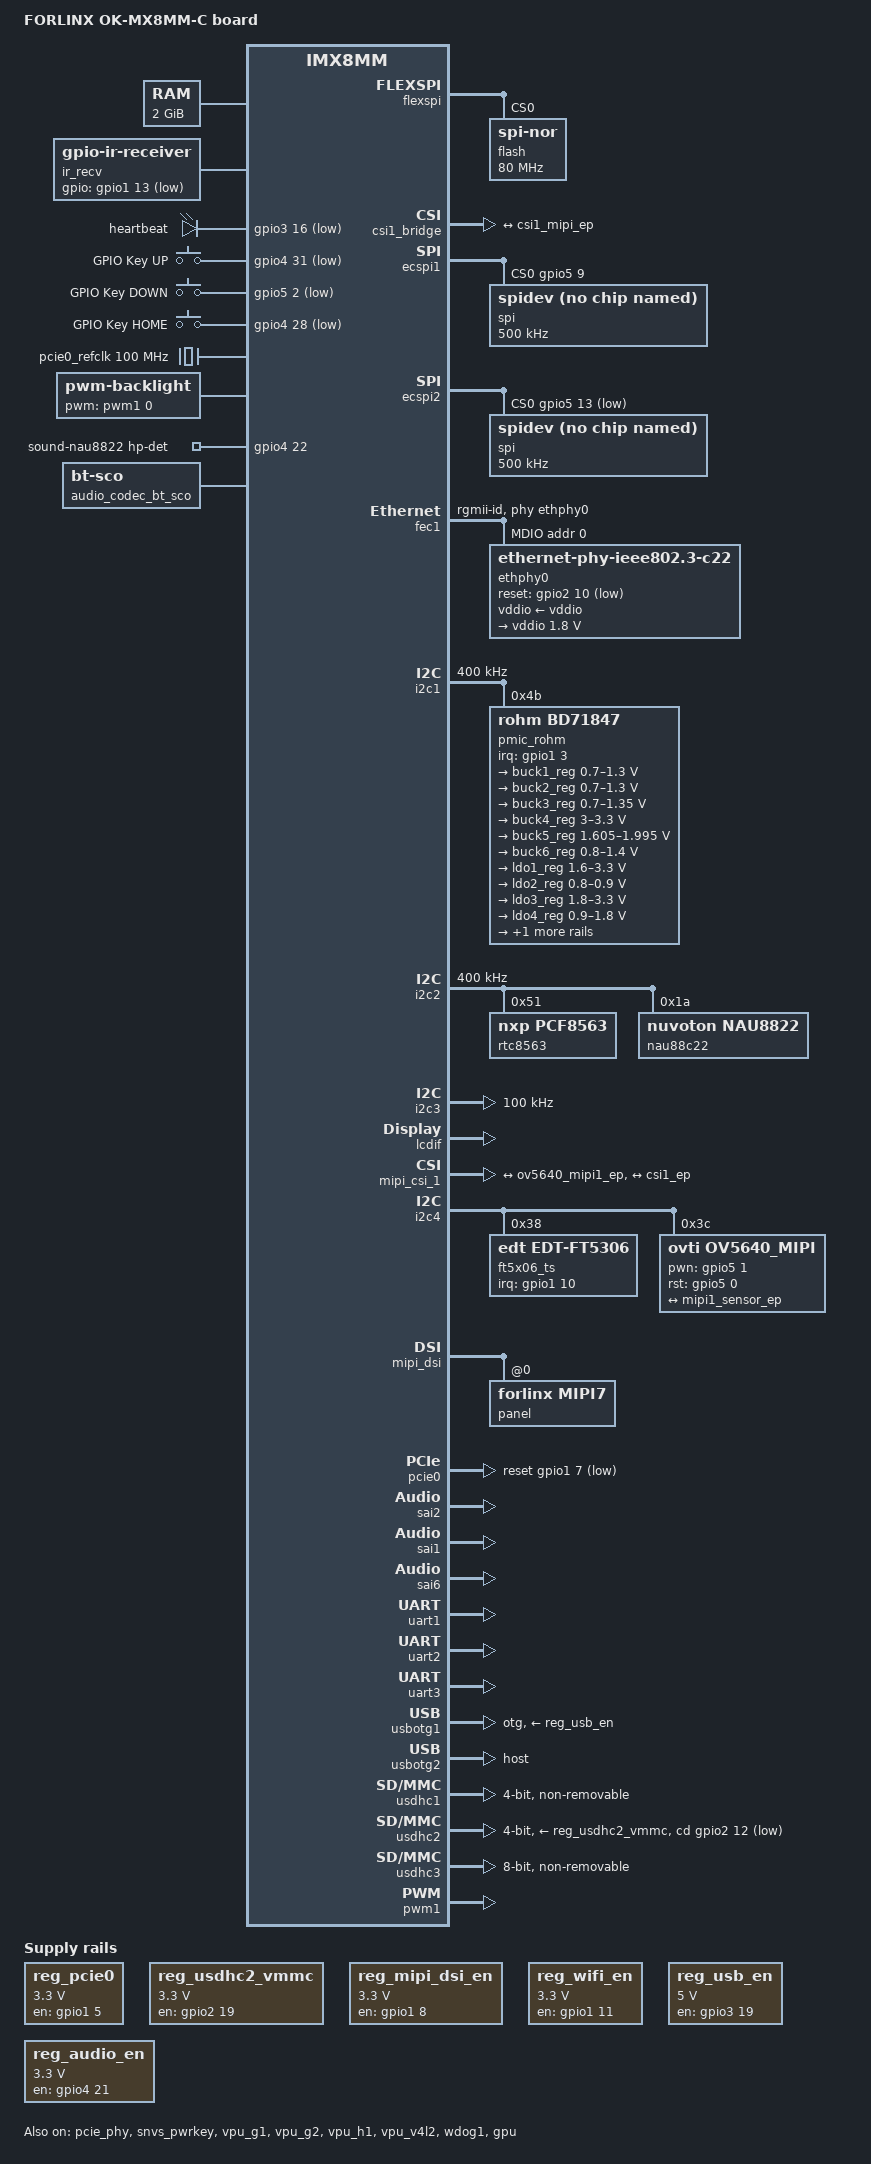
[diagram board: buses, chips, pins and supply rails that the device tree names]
// SPDX-License-Identifier: (GPL-2.0+ OR MIT)
/*
 * Copyright 2020 NXP
 */

/dts-v1/;

#include <dt-bindings/phy/phy-imx8-pcie.h>
#include <dt-bindings/usb/pd.h>
#include "imx8mm.dtsi"

/ {

	model = "FORLINX OK-MX8MM-C board";
	compatible = "fsl,imx8mm-evk", "fsl,imx8mm";

	reserved-memory {
		#address-cells = <2>;
		#size-cells = <2>;
		ranges;

		m4_reserved: m4@80000000 {
			no-map;
			reg = <0 0x80000000 0 0x1000000>;
		};

		vdev0vring0: vdev0vring0@b8000000 {
			reg = <0 0xb8000000 0 0x8000>;
			no-map;
		};

		vdev0vring1: vdev0vring1@b8008000 {
			reg = <0 0xb8008000 0 0x8000>;
			no-map;
		};

		rsc_table: rsc-table@b80ff000 {
			reg = <0 0xb80ff000 0 0x1000>;
			no-map;
		};

		vdevbuffer: vdevbuffer@b8400000 {
			compatible = "shared-dma-pool";
			reg = <0 0xb8400000 0 0x100000>;
			no-map;
		};
	};


	imx8mm-cm4 {
		compatible = "fsl,imx8mm-cm4";
		rsc-da = <0xb8000000>;
		clocks = <&clk IMX8MM_CLK_M4_DIV>;
		mbox-names = "tx", "rx", "rxdb";
		mboxes = <&mu 0 1
				&mu 1 1
				&mu 3 1>;
		memory-region = <&vdevbuffer>, <&vdev0vring0>, <&vdev0vring1>, <&rsc_table>;
		syscon = <&src>;
		fsl,startup-delay-ms = <500>;
	};

	chosen {
		stdout-path = &uart2;
	};

	aliases {
		spi0 = &flexspi;
		spi1 = &ecspi1;
		spi2 = &ecspi2;
	};

	memory@40000000 {
		device_type = "memory";
		reg = <0x0 0x40000000 0 0x80000000>;
	};

	ir_recv: ir-receiver {
		compatible = "gpio-ir-receiver";
		gpios = <&gpio1 13 GPIO_ACTIVE_LOW>;
		pinctrl-names = "default";
		pinctrl-0 = <&pinctrl_ir_recv>;
		linux,autosuspend-period = <125>;
	};

	leds {
		compatible = "gpio-leds";
		pinctrl-names = "default";
		pinctrl-0 = <&pinctrl_gpio_led>;

		status {
			label = "heartbeat";
			gpios = <&gpio3 16 GPIO_ACTIVE_LOW>;
			linux,default-trigger = "heartbeat";
		};
	};

	gpio-keys {
		compatible = "gpio-keys";
		autorepeat;
		pinctrl-names = "default";
		pinctrl-0 = <&pinctrl_gpio_keys>;

		up {
			label = "GPIO Key UP";
			linux,code = <115>;
			gpios = <&gpio4 31 GPIO_ACTIVE_LOW>;
		};

		down {
			label = "GPIO Key DOWN";
			linux,code = <114>;
			gpios = <&gpio5 2 GPIO_ACTIVE_LOW>;
		};

		home {
			label = "GPIO Key HOME";
			linux,code = <102>;
			gpios = <&gpio4 28 GPIO_ACTIVE_LOW>;
		};
	};

	pcie0_refclk: pcie0-refclk {
		compatible = "fixed-clock";
		#clock-cells = <0>;
		clock-frequency = <100000000>;
	};

	reg_audio_board: regulator-audio-board {
		compatible = "regulator-fixed";
		regulator-name = "EXT_PWREN";
		regulator-min-microvolt = <3300000>;
		regulator-max-microvolt = <3300000>;
		enable-active-high;
		startup-delay-us = <300000>;
		gpio = <&pca6416 1 GPIO_ACTIVE_HIGH>;
		regulator-always-on;
		status = "disabled";
	};

	reg_pcie0: regulator-pcie {
		status = "okay";
		compatible = "regulator-fixed";
		pinctrl-names = "default";
		pinctrl-0 = <&pinctrl_pcie0_reg>;
		regulator-name = "MPCIE_3V3";
		regulator-min-microvolt = <3300000>;
		regulator-max-microvolt = <3300000>;
		gpio = <&gpio1 5 GPIO_ACTIVE_HIGH>;
		enable-active-high;
	};

	reg_usdhc2_vmmc: regulator-usdhc2 {
		compatible = "regulator-fixed";
		pinctrl-names = "default";
		pinctrl-0 = <&pinctrl_reg_usdhc2_vmmc>;
		regulator-name = "VSD_3V3";
		regulator-min-microvolt = <3300000>;
		regulator-max-microvolt = <3300000>;
		gpio = <&gpio2 19 GPIO_ACTIVE_HIGH>;
		off-on-delay-us = <20000>;
		enable-active-high;
	};

	reg_mipi_dsi_en: regulator-mipi-dsi-en {
		compatible = "regulator-fixed";
		pinctrl-names = "default";
		pinctrl-0 = <&pinctrl_mipi_dsi_en>;
		regulator-name = "MIPI_DSI_EN_3V3";
		regulator-min-microvolt = <3300000>;
		regulator-max-microvolt = <3300000>;
		gpio = <&gpio1 8 GPIO_ACTIVE_HIGH>;
		enable-active-high;
		regulator-always-on;
	};

	reg_wifi_en: regulator-wifi-en {
		compatible = "regulator-fixed";
		pinctrl-names = "default";
		pinctrl-0 = <&pinctrl_wifi_en>;
		regulator-name = "WIFI_EN_3V3";
		regulator-min-microvolt = <3300000>;
		regulator-max-microvolt = <3300000>;
		gpio = <&gpio1 11 GPIO_ACTIVE_HIGH>;
		enable-active-high;
	};

	reg_usb_en: regulator-usb-en {
		compatible = "regulator-fixed";
		pinctrl-names = "default";
		pinctrl-0 = <&pinctrl_usb_en>;
		regulator-name = "USB_EN";
		regulator-min-microvolt = <5000000>;
		regulator-max-microvolt = <5000000>;
		gpio = <&gpio3 19 GPIO_ACTIVE_HIGH>;
		enable-active-high;
	};

	reg_audio_en:regulator-audio-en {
		compatible = "regulator-fixed";
		pinctrl-names = "default";
		pinctrl-0 = <&pinctrl_wm8960_power_en>;
		regulator-name = "AUDIO_EN";
		regulator-min-microvolt = <3300000>;
		regulator-max-microvolt = <3300000>;
		gpio = <&gpio4 21 GPIO_ACTIVE_HIGH>;
		enable-active-high;
		regulator-always-on;
	};

	backlight: backlight {
		compatible = "pwm-backlight";
		pwms = <&pwm1 0 50000 0>;
		brightness-levels = <0 255>;
		num-interpolated-steps = <255>;
		default-brightness-level = <250>;
	};

	ir-receiver {
		compatible = "gpio-ir-receiver";
		gpios = <&gpio1 13 GPIO_ACTIVE_LOW>;
		pinctrl-names = "default";
		pinctrl-0 = <&pinctrl_ir>;
		linux,autosuspend-period = <125>;
	};


	sound: sound {
		compatible = "fsl,imx7d-evk-wm8960",
				"fsl,imx-audio-wm8960";
		model = "wm8960-audio";
		audio-cpu = <&sai2>;
		audio-codec = <&wm8960>;
		codec-master;
		hp-det-gpio = <&gpio4 22 0>;
		audio-routing =
			"Headphone Jack", "HP_L",
			"Headphone Jack", "HP_R",
			"Ext Spk", "SPK_LP",
			"Ext Spk", "SPK_LN",
			"Ext Spk", "SPK_RP",
			"Ext Spk", "SPK_RN",
			"LINPUT2", "Mic Jack",
			"RINPUT2", "Mic Jack",
			"Mic Jack", "MICB",
			"Playback", "CPU-Playback",
			"CPU-Capture", "Capture";
		status="disabled";
	};

	sound-nau8822 {
		compatible = "fsl,imx-audio-nau88c22";
		model = "nau88c22-audio";
		audio-cpu = <&sai2>;
		audio-codec = <&nau88c22>;
		mclk-id = <0x1>;
		hp-det-gpio = <&gpio4 22 0>;
		audio-routing =
			"Headphone Jack", "LHP",
			"Headphone Jack", "RHP",
			"Ext Spk", "LSPK",
			"Ext Spk", "RSPK",
			"LMICN", "Mic Jack",
			"LMICP", "Mic Jack",
			"RMICN", "Mic Jack",
			"RMICP", "Mic Jack",
			"CPU-Playback", "Playback",
			"CPU-Capture", "Capture";
		status = "okay";
	};

	audio_codec_bt_sco: audio-codec-bt-sco {
		compatible = "linux,bt-sco";
		#sound-dai-cells = <1>;
	};

	wm8524: audio-codec {
		#sound-dai-cells = <0>;
		compatible = "wlf,wm8524";
		pinctrl-names = "default";
		pinctrl-0 = <&pinctrl_gpio_wlf>;
		wlf,mute-gpios = <&gpio5 21 GPIO_ACTIVE_LOW>;
		status = "disabled";
	};

	sound-bt-sco {
		compatible = "simple-audio-card";
		simple-audio-card,name = "bt-sco-audio";
		simple-audio-card,format = "dsp_a";
		simple-audio-card,bitclock-inversion;
		simple-audio-card,frame-master = <&btcpu>;
		simple-audio-card,bitclock-master = <&btcpu>;
		status = "disabled";

		btcpu: simple-audio-card,cpu {
			sound-dai = <&sai2>;
			dai-tdm-slot-num = <2>;
			dai-tdm-slot-width = <16>;
		};

		simple-audio-card,codec {
			sound-dai = <&audio_codec_bt_sco 1>;
		};
	};

	sound-wm8524 {
		compatible = "simple-audio-card";
		simple-audio-card,name = "wm8524-audio";
		simple-audio-card,format = "i2s";
		simple-audio-card,frame-master = <&cpudai>;
		simple-audio-card,bitclock-master = <&cpudai>;
		simple-audio-card,widgets =
			"Line", "Left Line Out Jack",
			"Line", "Right Line Out Jack";
		simple-audio-card,routing =
			"Left Line Out Jack", "LINEVOUTL",
			"Right Line Out Jack", "LINEVOUTR";

		cpudai: simple-audio-card,cpu {
			sound-dai = <&sai3>;
			dai-tdm-slot-num = <2>;
			dai-tdm-slot-width = <32>;
		};

		simple-audio-card,codec {
			sound-dai = <&wm8524>;
			clocks = <&clk IMX8MM_CLK_SAI3_ROOT>;
		};
	};

	sound-ak4458 {
		compatible = "fsl,imx-audio-card";
		model = "ak4458-audio";
		status = "disabled";
		pri-dai-link {
			link-name = "akcodec";
			format = "i2s";
			fsl,mclk-equal-bclk;
			cpu {
				sound-dai = <&sai1>;
			};
			codec {
				sound-dai = <&ak4458_1>, <&ak4458_2>;
			};
		};
	};

	sound-ak5558 {
		compatible = "fsl,imx-audio-card";
		model = "ak5558-audio";
		status = "disabled";
		pri-dai-link {
			link-name = "akcodec";
			format = "i2s";
			fsl,mclk-equal-bclk;
			cpu {
				sound-dai = <&sai5>;
			};
			codec {
				sound-dai = <&ak5558>;
			};
		};
	};

	sound-ak4497 {
		compatible = "fsl,imx-audio-card";
		model = "ak4497-audio";
		status = "disabled";
		pri-dai-link {
			link-name = "akcodec";
			format = "i2s";
			fsl,mclk-equal-bclk;
			cpu {
				sound-dai = <&sai1>;
			};
			codec {
				sound-dai = <&ak4497>;
			};
		};
	};

	sound-spdif {
		compatible = "fsl,imx-audio-spdif";
		model = "imx-spdif";
		spdif-controller = <&spdif1>;
		spdif-out;
		spdif-in;
		status = "disabled";
	};

	sound-micfil {
		compatible = "fsl,imx-audio-card";
		model = "micfil-audio";
		status = "disabled";
		pri-dai-link {
			link-name = "micfil hifi";
			format = "i2s";
			cpu {
				sound-dai = <&micfil>;
			};
		};
	};
};

&clk {
	init-on-array = <IMX8MM_CLK_UART4_ROOT
	IMX8MM_CLK_AHB IMX8MM_CLK_DRAM_CORE
	IMX8MM_CLK_NOC IMX8MM_CLK_NOC_APB
	IMX8MM_CLK_USB_BUS
	IMX8MM_CLK_MAIN_AXI IMX8MM_CLK_AUDIO_AHB
	IMX8MM_CLK_DRAM_APB IMX8MM_CLK_A53_DIV
	IMX8MM_ARM_PLL_OUT IMX8MM_CLK_DISP_AXI
	IMX8MM_CLK_DISP_APB
	>;
};

&A53_0 {
	cpu-supply = <&buck2_reg>;
};

&A53_1 {
	cpu-supply = <&buck2_reg>;
};

&A53_2 {
	cpu-supply = <&buck2_reg>;
};

&A53_3 {
	cpu-supply = <&buck2_reg>;
};


&{/busfreq} {
        /* Disable busfreq, to avoid 1st Linux busfreq crash other inmates */
        status = "disabled";
};

&flexspi {
	pinctrl-names = "default";
	pinctrl-0 = <&pinctrl_flexspi>;
	status = "okay";

	flash@0 {
		reg = <0>;
		#address-cells = <1>;
		#size-cells = <1>;
		compatible = "jedec,spi-nor";
		spi-max-frequency = <80000000>;
		spi-tx-bus-width = <1>;
		spi-rx-bus-width = <4>;
	};
};

&csi1_bridge {
	fsl,mipi-mode;
	status = "okay";
	port {
		csi1_ep: endpoint {
			remote-endpoint = <&csi1_mipi_ep>;
		};
	};
};

&ecspi1 {
	#address-cells = <1>;
	#size-cells = <0>;
	fsl,spi-num-chipselects = <1>;
	status = "okay";
	pinctrl-names = "default";
	pinctrl-0 = <&pinctrl_spi1>;
	cs-gpios = <&gpio5 9 0>;

	spi@0 {
		reg = <0>;
		compatible = "rohm,dh2228fv";
		spi-max-frequency = <500000>;
	};
};

&ecspi2 {
	#address-cells = <1>;
	#size-cells = <0>;
	fsl,spi-num-chipselects = <1>;
	pinctrl-names = "default";
	pinctrl-0 = <&pinctrl_spi2>;
	cs-gpios = <&gpio5 13 GPIO_ACTIVE_LOW>;
	status = "okay";

	spi@0 {
		reg = <0>;
		compatible = "rohm,dh2228fv";
		spi-max-frequency = <500000>;
	};
};

&fec1 {
	pinctrl-names = "default";
	pinctrl-0 = <&pinctrl_fec1>;
	phy-mode = "rgmii-id";
	phy-handle = <&ethphy0>;
	fsl,magic-packet;
	status = "okay";

	mdio {
		#address-cells = <1>;
		#size-cells = <0>;

		ethphy0: ethernet-phy@0 {
			compatible = "ethernet-phy-ieee802.3-c22";
			reg = <0>;
			reset-gpios = <&gpio2 10 GPIO_ACTIVE_LOW>;
			reset-assert-us = <10000>;
			reset-deassert-us = <80000>;
			yt8521-led1 = <0x1e00>;
			yt8521-led2 = <0x1800>;
			realtek,aldps-enable;
			realtek,clkout-disable;
			qca,disable-smarteee;
			vddio-supply = <&vddio>;

			vddio: vddio-regulator {
				regulator-min-microvolt = <1800000>;
				regulator-max-microvolt = <1800000>;
			};
		};
	};
};

&i2c1 {
	clock-frequency = <400000>;
	pinctrl-names = "default";
	pinctrl-0 = <&pinctrl_i2c1>;
	status = "okay";


	pmic_rohm: pmic@4b {
		compatible = "rohm,bd71847";
		reg = <0x4b>;
		pinctrl-0 = <&pinctrl_pmic>;
		pinctrl-names = "default";
		interrupt-parent = <&gpio1>;
		interrupts = <3 GPIO_ACTIVE_LOW>;
		rohm,reset-snvs-powered;

		#clock-cells = <0>;
		clocks = <&osc_32k 0>;
		clock-output-names = "clk-32k-out";

		regulators {
			buck1_reg: BUCK1 {
				regulator-name = "BUCK1";
				regulator-min-microvolt = <700000>;
				regulator-max-microvolt = <1300000>;
				regulator-boot-on;
				regulator-always-on;
				regulator-ramp-delay = <1250>;
			};

			buck2_reg: BUCK2 {
				regulator-name = "BUCK2";
				regulator-min-microvolt = <700000>;
				regulator-max-microvolt = <1300000>;
				regulator-boot-on;
				regulator-always-on;
				regulator-ramp-delay = <1250>;
				rohm,dvs-run-voltage = <1000000>;
				rohm,dvs-idle-voltage = <900000>;
			};

			buck3_reg: BUCK3 {
				// BUCK5 in datasheet
				regulator-name = "BUCK3";
				regulator-min-microvolt = <700000>;
				regulator-max-microvolt = <1350000>;
				regulator-boot-on;
				regulator-always-on;
			};

			buck4_reg: BUCK4 {
				// BUCK6 in datasheet
				regulator-name = "BUCK4";
				regulator-min-microvolt = <3000000>;
				regulator-max-microvolt = <3300000>;
				regulator-boot-on;
				regulator-always-on;
			};

			buck5_reg: BUCK5 {
				// BUCK7 in datasheet
				regulator-name = "BUCK5";
				regulator-min-microvolt = <1605000>;
				regulator-max-microvolt = <1995000>;
				regulator-boot-on;
				regulator-always-on;
			};

			buck6_reg: BUCK6 {
				// BUCK8 in datasheet
				regulator-name = "BUCK6";
				regulator-min-microvolt = <800000>;
				regulator-max-microvolt = <1400000>;
				regulator-boot-on;
				regulator-always-on;
			};

			ldo1_reg: LDO1 {
				regulator-name = "LDO1";
				regulator-min-microvolt = <1600000>;
				regulator-max-microvolt = <3300000>;
				regulator-boot-on;
				regulator-always-on;
			};

			ldo2_reg: LDO2 {
				regulator-name = "LDO2";
				regulator-min-microvolt = <800000>;
				regulator-max-microvolt = <900000>;
				regulator-boot-on;
				regulator-always-on;
			};

			ldo3_reg: LDO3 {
				regulator-name = "LDO3";
				regulator-min-microvolt = <1800000>;
				regulator-max-microvolt = <3300000>;
				regulator-boot-on;
				regulator-always-on;
			};

			ldo4_reg: LDO4 {
				regulator-name = "LDO4";
				regulator-min-microvolt = <900000>;
				regulator-max-microvolt = <1800000>;
				regulator-boot-on;
				regulator-always-on;
			};

			ldo6_reg: LDO6 {
				regulator-name = "LDO6";
				regulator-min-microvolt = <900000>;
				regulator-max-microvolt = <1800000>;
				regulator-boot-on;
				regulator-always-on;
			};
		};
	};

};

&i2c2 {
	clock-frequency = <400000>;
	pinctrl-names = "default";
	pinctrl-0 = <&pinctrl_i2c2>;
	status = "okay";

    rtc8563@51 {
        compatible = "nxp,pcf8563";
        reg = <0x51>;
        status = "okay";
    };

    wm8960: wm8960@1a {
        compatible = "wlf,wm8960";
        reg = <0x1a>;
        wlf,shared-lrclk;
        clocks = <&clk IMX8MM_CLK_SAI2_ROOT>;
        clock-names = "mclk";
        status= "disabled";
    };

	nau88c22: nau8822@1a {
		compatible = "nuvoton,nau8822";
		reg = <0x1a>;
		clocks = <&clk IMX8MM_CLK_SAI2_ROOT>;
		clock-names = "mclk";
		wlf,shared-lrclk;
		#sound-dai-cells = <0>;
		status = "okay";
	};

	adv_bridge: adv7535@3d {
		compatible = "adi,adv7535";
		reg = <0x3d>;
		adi,addr-cec = <0x3b>;
		adi,dsi-lanes = <4>;
		pinctrl-names = "default";
		pinctrl-0 = <&pinctrl_i2c2_synaptics_dsx_io>;
		interrupt-parent = <&gpio1>;
		interrupts = <9 IRQ_TYPE_LEVEL_LOW>;

		status = "disabled";
	};

};

&i2c3 {
	clock-frequency = <100000>;
	pinctrl-names = "default";
	pinctrl-0 = <&pinctrl_i2c3>;
	status = "okay";

	pca6416: gpio@20 {
		compatible = "ti,tca6416";
		reg = <0x20>;
		gpio-controller;
		#gpio-cells = <2>;
		vcc-supply = <&buck4_reg>;
		status = "disabled";
	};

	ak4458_1: ak4458@10 {
		#sound-dai-cells = <0>;
		sound-name-prefix = "0";
		compatible = "asahi-kasei,ak4458";
		reg = <0x10>;
		AVDD-supply = <&reg_audio_board>;
		DVDD-supply = <&reg_audio_board>;
		status = "disabled";
	};

	ak4458_2: ak4458@12 {
		#sound-dai-cells = <0>;
		sound-name-prefix = "1";
		compatible = "asahi-kasei,ak4458";
		reg = <0x12>;
		AVDD-supply = <&reg_audio_board>;
		DVDD-supply = <&reg_audio_board>;
		status = "disabled";
	};

	ak5558: ak5558@13 {
		#sound-dai-cells = <0>;
		compatible = "asahi-kasei,ak5558";
		reg = <0x13>;
		reset-gpios = <&pca6416 3 GPIO_ACTIVE_LOW>;
		AVDD-supply = <&reg_audio_board>;
		DVDD-supply = <&reg_audio_board>;
		status = "disabled";
	};

	ak4497: ak4497@11 {
		#sound-dai-cells = <0>;
		compatible = "asahi-kasei,ak4497";
		reg = <0x11>;
		reset-gpios = <&pca6416 5 GPIO_ACTIVE_LOW>;
		AVDD-supply = <&reg_audio_board>;
		DVDD-supply = <&reg_audio_board>;
		dsd-path = <1>;
		status = "disabled";
	};
};
&lcdif {
       status = "okay";
};

&mipi_csi_1 {
	#address-cells = <1>;
	#size-cells = <0>;
	status = "okay";
	port {
		mipi1_sensor_ep: endpoint@1 {
			remote-endpoint = <&ov5640_mipi1_ep>;
			data-lanes = <2>;
			csis-hs-settle = <13>;
			csis-clk-settle = <2>;
			csis-wclk;
		};

		csi1_mipi_ep: endpoint@2 {
			remote-endpoint = <&csi1_ep>;
		};
	};
};

&i2c4 {
    pinctrl-names = "default";
    pinctrl-0 = <&pinctrl_i2c4>;
    status = "okay";

    ft5x06_ts@38 {
        compatible = "edt,edt-ft5306";
        reg = <0x38>;
        pinctrl-names = "defaults";
        pinctrl-0 = <&pinctrl_ft5x06_int>;
        touchscreen-size-x = <1024>;
        touchscreen-size-y = <600>;
        interrupt-parent = <&gpio1>;
        interrupts = <10 2>;
        status = "okay";
    };

    gt928_ts@5d {
        compatible = "goodix,gt928";
        reg = <0x5d>;
        pinctrl-names = "default";
        pinctrl-0 = <&pinctrl_ft5x06_int>;
        interrupt-parent = <&gpio1>;
        interrupts = <10 2>;
        goodix,rst-gpio = <&gpio1 9 0>;
        goodix,irq-gpio = <&gpio1 10 0>;
        status = "disabled";
	};

    ov5640_mipi: ov5640_mipi@3c {
        compatible = "ovti,ov5640_mipi";
        reg = <0x3c>;
        status = "okay";
        pinctrl-names = "default";
        pinctrl-0 = <&pinctrl_csi_pwn>, <&pinctrl_csi_rst>;
		clocks = <&clk IMX8MM_CLK_CLKO1>;
        clock-names = "csi_mclk";
		assigned-clocks = <&clk IMX8MM_CLK_CLKO1>;
        assigned-clock-parents = <&clk IMX8MM_CLK_24M>;
        assigned-clock-rates = <0>, <24000000>;
        csi_id = <0>;
        pwn-gpios = <&gpio5 1 GPIO_ACTIVE_HIGH>;
        rst-gpios = <&gpio5 0 GPIO_ACTIVE_HIGH>;
        mclk = <24000000>;
        mclk_source = <0>;
        port {
            ov5640_mipi1_ep: endpoint {
                remote-endpoint = <&mipi1_sensor_ep>;
            };
        };
    };


};



&micfil {
	#sound-dai-cells = <0>;
	pinctrl-names = "default";
	pinctrl-0 = <&pinctrl_pdm>;
	assigned-clocks = <&clk IMX8MM_CLK_PDM>;
	assigned-clock-parents = <&clk IMX8MM_AUDIO_PLL1_OUT>;
	assigned-clock-rates = <196608000>;
	status = "disabled";
};

&mipi_dsi {
       status = "okay";

	panel@0 {
		status = "okay";
		compatible = "forlinx,mipi7";
		reg = <0>;
	};
};

&pcie_phy {
	fsl,refclk-pad-mode = <IMX8_PCIE_REFCLK_PAD_OUTPUT>;
	fsl,tx-deemph-gen1 = <0x2d>;
	fsl,tx-deemph-gen2 = <0xf>;
	status = "okay";
};

&pcie0 {
	pinctrl-names = "default";
	pinctrl-0 = <&pinctrl_pcie0>;
	reset-gpio = <&gpio1 7 GPIO_ACTIVE_LOW>;
	clocks = <&clk IMX8MM_CLK_PCIE1_ROOT>, <&clk IMX8MM_CLK_PCIE1_AUX>,
		 <&pcie0_refclk>;
	clock-names = "pcie", "pcie_aux", "pcie_bus";
	assigned-clocks = <&clk IMX8MM_CLK_PCIE1_AUX>,
			  <&clk IMX8MM_CLK_PCIE1_CTRL>;
	assigned-clock-rates = <10000000>, <250000000>;
	assigned-clock-parents = <&clk IMX8MM_SYS_PLL2_50M>,
				 <&clk IMX8MM_SYS_PLL2_250M>;
	vpcie-supply = <&reg_pcie0>;
	status = "okay";
};

&pcie0_ep{
	pinctrl-names = "default";
	pinctrl-0 = <&pinctrl_pcie0>;
	clocks = <&clk IMX8MM_CLK_PCIE1_ROOT>,
		 <&clk IMX8MM_CLK_PCIE1_AUX>,
		 <&clk IMX8MM_CLK_PCIE1_PHY>,
		 <&pcie0_refclk>;
	clock-names = "pcie", "pcie_aux", "pcie_phy", "pcie_bus";
	ext_osc = <1>;
	status = "disabled";
};

&sai2 {
	#sound-dai-cells = <0>;
	pinctrl-names = "default";
	pinctrl-0 = <&pinctrl_sai2>;
	assigned-clocks = <&clk IMX8MM_CLK_SAI2>;
	assigned-clock-parents = <&clk IMX8MM_AUDIO_PLL1_OUT>;
	assigned-clock-rates = <12288000>;
	fsl,sai-mclk-direction-output;
	status = "okay";
};

&sdma2 {
	fsl,ratio-1-1;
	status = "okay";

};
&sdma1 {
	status = "okay";

};
&sdma3 {
	status = "disabled";

};

&sai1 {
	pinctrl-names = "default", "dsd";
	pinctrl-0 = <&pinctrl_sai1>;
	pinctrl-1 = <&pinctrl_sai1_dsd>;
	assigned-clocks = <&clk IMX8MM_CLK_SAI1>;
	assigned-clock-parents = <&clk IMX8MM_AUDIO_PLL1_OUT>;
	assigned-clock-rates = <49152000>;
	clocks = <&clk IMX8MM_CLK_SAI1_IPG>, <&clk IMX8MM_CLK_DUMMY>,
		<&clk IMX8MM_CLK_SAI1_ROOT>, <&clk IMX8MM_CLK_DUMMY>,
		<&clk IMX8MM_CLK_DUMMY>, <&clk IMX8MM_AUDIO_PLL1_OUT>,
		<&clk IMX8MM_AUDIO_PLL2_OUT>;
	clock-names = "bus", "mclk0", "mclk1", "mclk2", "mclk3", "pll8k", "pll11k";
	fsl,sai-multi-lane;
	fsl,dataline = <0 0xff 0xff 2 0xff 0x11>;
	dmas = <&sdma2 0 25 0>, <&sdma2 1 25 0>;
	status = "okay";
};

&sai3 {
	pinctrl-names = "default";
	pinctrl-0 = <&pinctrl_sai3>;
	assigned-clocks = <&clk IMX8MM_CLK_SAI3>;
	assigned-clock-parents = <&clk IMX8MM_AUDIO_PLL1_OUT>;
	assigned-clock-rates = <24576000>;
	status = "disabled";
};

&sai5 {
	pinctrl-names = "default";
	pinctrl-0 = <&pinctrl_sai5>;
	assigned-clocks = <&clk IMX8MM_CLK_SAI5>;
	assigned-clock-parents = <&clk IMX8MM_AUDIO_PLL1_OUT>;
	assigned-clock-rates = <49152000>;
	clocks = <&clk IMX8MM_CLK_SAI5_IPG>, <&clk IMX8MM_CLK_DUMMY>,
		<&clk IMX8MM_CLK_SAI5_ROOT>, <&clk IMX8MM_CLK_DUMMY>,
		<&clk IMX8MM_CLK_DUMMY>, <&clk IMX8MM_AUDIO_PLL1_OUT>,
		<&clk IMX8MM_AUDIO_PLL2_OUT>;
	clock-names = "bus", "mclk0", "mclk1", "mclk2", "mclk3", "pll8k", "pll11k";
	fsl,sai-asynchronous;
	fsl,sai-multi-lane;
	dmas = <&sdma2 8 25 0>, <&sdma2 9 25 0>;
	status = "disabled";
};

&sai6 {
	fsl,sai-monitor-spdif;
	fsl,sai-asynchronous;
	status = "okay";
};

&snvs_pwrkey {
	status = "okay";
};

&spdif1 {
	pinctrl-names = "default";
	pinctrl-0 = <&pinctrl_spdif1>;
	assigned-clocks = <&clk IMX8MM_CLK_SPDIF1>;
	assigned-clock-parents = <&clk IMX8MM_AUDIO_PLL1_OUT>;
	assigned-clock-rates = <24576000>;
	clocks = <&clk IMX8MM_CLK_AUDIO_AHB>, <&clk IMX8MM_CLK_24M>,
		<&clk IMX8MM_CLK_SPDIF1>, <&clk IMX8MM_CLK_DUMMY>,
		<&clk IMX8MM_CLK_DUMMY>, <&clk IMX8MM_CLK_DUMMY>,
		<&clk IMX8MM_CLK_AUDIO_AHB>, <&clk IMX8MM_CLK_DUMMY>,
		<&clk IMX8MM_CLK_DUMMY>, <&clk IMX8MM_CLK_DUMMY>,
		<&clk IMX8MM_AUDIO_PLL1_OUT>, <&clk IMX8MM_AUDIO_PLL2_OUT>;
	clock-names = "core", "rxtx0", "rxtx1", "rxtx2", "rxtx3",
		"rxtx4", "rxtx5", "rxtx6", "rxtx7", "spba", "pll8k", "pll11k";
	status = "disabled";
};

&uart1 {
	pinctrl-names = "default";
	pinctrl-0 = <&pinctrl_uart1>;
	assigned-clocks = <&clk IMX8MM_CLK_UART1>;
	assigned-clock-parents = <&clk IMX8MM_SYS_PLL1_80M>;
//	fsl,uart-has-rtscts;
	status = "okay";
};

&uart2 { /* console */
	pinctrl-names = "default";
	pinctrl-0 = <&pinctrl_uart2>;
	status = "okay";
};

&uart3 {
	pinctrl-names = "default";
	pinctrl-0 = <&pinctrl_uart3>;
	assigned-clocks = <&clk IMX8MM_CLK_UART3>;
	assigned-clock-parents = <&clk IMX8MM_SYS_PLL1_80M>;
	fsl,uart-has-rtscts;
	status = "okay";
};

&usbotg1 {
	dr_mode = "otg";
	vbus-supply = <&reg_usb_en>;
	samsung,picophy-pre-emp-curr-control = <3>;
	samsung,picophy-dc-vol-level-adjust = <7>;
	status = "okay";

};

&usbotg2 {
	dr_mode = "host";
	over-current-active-low;
	samsung,picophy-pre-emp-curr-control = <3>;
	samsung,picophy-dc-vol-level-adjust = <7>;
	status = "okay";
};

&usdhc1 {
	pinctrl-names = "default", "state_100mhz", "state_200mhz";
	pinctrl-0 = <&pinctrl_usdhc1>;
	pinctrl-1 = <&pinctrl_usdhc1_100mhz>;
	pinctrl-2 = <&pinctrl_usdhc1_200mhz>;
	bus-width = <4>;
	keep-power-in-suspend;
	non-removable;
	wakeup-source;
};

&usdhc2 {
	assigned-clocks = <&clk IMX8MM_CLK_USDHC2>;
	assigned-clock-rates = <200000000>;
	pinctrl-names = "default", "state_100mhz", "state_200mhz";
	pinctrl-0 = <&pinctrl_usdhc2>, <&pinctrl_usdhc2_gpio>;
	pinctrl-1 = <&pinctrl_usdhc2_100mhz>, <&pinctrl_usdhc2_gpio>;
	pinctrl-2 = <&pinctrl_usdhc2_200mhz>, <&pinctrl_usdhc2_gpio>;
	cd-gpios = <&gpio2 12 GPIO_ACTIVE_LOW>;
	bus-width = <4>;
	vmmc-supply = <&reg_usdhc2_vmmc>;
	status = "okay";
};

&usdhc3 {
	assigned-clocks = <&clk IMX8MM_CLK_USDHC3_ROOT>;
	assigned-clock-rates = <400000000>;
	pinctrl-names = "default", "state_100mhz", "state_200mhz";
	pinctrl-0 = <&pinctrl_usdhc3>;
	pinctrl-1 = <&pinctrl_usdhc3_100mhz>;
	pinctrl-2 = <&pinctrl_usdhc3_200mhz>;
	bus-width = <8>;
	non-removable;
	status = "okay";
};


&vpu_g1 {
	status = "okay";
};

&vpu_g2 {
	status = "okay";
};

&vpu_h1 {
	status = "okay";
};

&vpu_v4l2 {
	status = "okay";
};

&wdog1 {
	pinctrl-names = "default";
	pinctrl-0 = <&pinctrl_wdog>;
	fsl,ext-reset-output;
	status = "okay";
};

&pwm1 {
	pinctrl-names = "default";
	pinctrl-0 = <&pinctrl_backlight>;
	status = "okay";
};

&gpu {
	status = "okay";
};

&iomuxc {

	pinctrl_flexspi: flexspigrp {
		fsl,pins = <
			MX8MM_IOMUXC_NAND_ALE_QSPI_A_SCLK               0x1c2
			MX8MM_IOMUXC_NAND_CE0_B_QSPI_A_SS0_B            0x82
			MX8MM_IOMUXC_NAND_DATA00_QSPI_A_DATA0           0x156
			MX8MM_IOMUXC_NAND_DATA01_QSPI_A_DATA1           0x156
			MX8MM_IOMUXC_NAND_DATA02_QSPI_A_DATA2           0x156
			MX8MM_IOMUXC_NAND_DATA03_QSPI_A_DATA3           0x156
		>;
	};

	pinctrl_usdhc3: usdhc3grp {
		fsl,pins = <
			MX8MM_IOMUXC_NAND_WE_B_USDHC3_CLK               0x190
			MX8MM_IOMUXC_NAND_WP_B_USDHC3_CMD               0x1d0
			MX8MM_IOMUXC_NAND_DATA04_USDHC3_DATA0           0x1d0
			MX8MM_IOMUXC_NAND_DATA05_USDHC3_DATA1           0x1d0
			MX8MM_IOMUXC_NAND_DATA06_USDHC3_DATA2           0x1d0
			MX8MM_IOMUXC_NAND_DATA06_USDHC3_DATA2           0x1d0
			MX8MM_IOMUXC_NAND_DATA07_USDHC3_DATA3           0x1d0
			MX8MM_IOMUXC_NAND_RE_B_USDHC3_DATA4             0x1d0
			MX8MM_IOMUXC_NAND_CE2_B_USDHC3_DATA5            0x1d0
			MX8MM_IOMUXC_NAND_CE3_B_USDHC3_DATA6            0x1d0
			MX8MM_IOMUXC_NAND_CLE_USDHC3_DATA7              0x1d0
			MX8MM_IOMUXC_NAND_CE1_B_USDHC3_STROBE           0x190
		>;
	};

	pinctrl_usdhc3_100mhz: usdhc3-100mhzgrp {
		fsl,pins = <
			MX8MM_IOMUXC_NAND_WE_B_USDHC3_CLK               0x194
			MX8MM_IOMUXC_NAND_WP_B_USDHC3_CMD               0x1d4
			MX8MM_IOMUXC_NAND_DATA04_USDHC3_DATA0           0x1d4
			MX8MM_IOMUXC_NAND_DATA05_USDHC3_DATA1           0x1d4
			MX8MM_IOMUXC_NAND_DATA06_USDHC3_DATA2           0x1d4
			MX8MM_IOMUXC_NAND_DATA07_USDHC3_DATA3           0x1d4
			MX8MM_IOMUXC_NAND_RE_B_USDHC3_DATA4             0x1d4
			MX8MM_IOMUXC_NAND_CE2_B_USDHC3_DATA5            0x1d4
			MX8MM_IOMUXC_NAND_CE3_B_USDHC3_DATA6            0x1d4
			MX8MM_IOMUXC_NAND_CLE_USDHC3_DATA7              0x1d4
			MX8MM_IOMUXC_NAND_CE1_B_USDHC3_STROBE           0x194
		>;
	};

	pinctrl_usdhc3_200mhz: usdhc3-200mhzgrp {
		fsl,pins = <
			MX8MM_IOMUXC_NAND_WE_B_USDHC3_CLK               0x196
			MX8MM_IOMUXC_NAND_WP_B_USDHC3_CMD               0x1d6
			MX8MM_IOMUXC_NAND_DATA04_USDHC3_DATA0           0x1d6
			MX8MM_IOMUXC_NAND_DATA05_USDHC3_DATA1           0x1d6
			MX8MM_IOMUXC_NAND_DATA06_USDHC3_DATA2           0x1d6
			MX8MM_IOMUXC_NAND_DATA07_USDHC3_DATA3           0x1d6
			MX8MM_IOMUXC_NAND_RE_B_USDHC3_DATA4             0x1d6
			MX8MM_IOMUXC_NAND_CE2_B_USDHC3_DATA5            0x1d6
			MX8MM_IOMUXC_NAND_CE3_B_USDHC3_DATA6            0x1d6
			MX8MM_IOMUXC_NAND_CLE_USDHC3_DATA7              0x1d6
			MX8MM_IOMUXC_NAND_CE1_B_USDHC3_STROBE           0x196
		>;
	};

	pinctrl_gpio_keys: gpio_keys {
		fsl,pins = <
			MX8MM_IOMUXC_SAI3_TXFS_GPIO4_IO31       0x59
			MX8MM_IOMUXC_SAI3_RXFS_GPIO4_IO28       0x59
			MX8MM_IOMUXC_SAI3_MCLK_GPIO5_IO2        0x59
		>;
	};

	pinctrl_ir_recv: ir-recv {
		fsl,pins = <
			MX8MM_IOMUXC_GPIO1_IO13_GPIO1_IO13		0x4f
		>;
	};

	pinctrl_csi_pwn: csi_pwn_grp {
		fsl,pins = <
			MX8MM_IOMUXC_SAI3_TXD_GPIO5_IO1            0x19
		>;
	};

	pinctrl_csi_rst: csi_rst_grp {
		fsl,pins = <
			MX8MM_IOMUXC_SAI3_TXC_GPIO5_IO0             0x19
			MX8MM_IOMUXC_GPIO1_IO14_CCMSRCGPCMIX_CLKO1  0x59
		>;
	};

	pinctrl_spi1: spi1 {
		fsl,pins = <
			MX8MM_IOMUXC_ECSPI1_SCLK_ECSPI1_SCLK        0x1d0
			MX8MM_IOMUXC_ECSPI1_MOSI_ECSPI1_MOSI        0x1d0
			MX8MM_IOMUXC_ECSPI1_MISO_ECSPI1_MISO        0x1d0
			MX8MM_IOMUXC_ECSPI1_SS0_GPIO5_IO9       0x1d0
			MX8MM_IOMUXC_SPDIF_TX_GPIO5_IO3         0x159
		>;
	};

	pinctrl_spi2: spi2 {
		fsl,pins = <
			MX8MM_IOMUXC_ECSPI2_SCLK_ECSPI2_SCLK        0x1d0
			MX8MM_IOMUXC_ECSPI2_MOSI_ECSPI2_MOSI        0x1d0
			MX8MM_IOMUXC_ECSPI2_MISO_ECSPI2_MISO        0x1d0
			MX8MM_IOMUXC_ECSPI2_SS0_GPIO5_IO13      0x1d0
			MX8MM_IOMUXC_SPDIF_EXT_CLK_GPIO5_IO5        0x159
		>;
	};

	pinctrl_ecspi2: ecspi2grp {
		fsl,pins = <
			MX8MM_IOMUXC_ECSPI2_SCLK_ECSPI2_SCLK		0x82
			MX8MM_IOMUXC_ECSPI2_MOSI_ECSPI2_MOSI		0x82
			MX8MM_IOMUXC_ECSPI2_MISO_ECSPI2_MISO		0x82
		>;
	};

	pinctrl_ecspi2_cs: ecspi2cs {
		fsl,pins = <
			MX8MM_IOMUXC_ECSPI2_SS0_GPIO5_IO13		0x40000
		>;
	};

	pinctrl_fec1: fec1grp {
		fsl,pins = <
			MX8MM_IOMUXC_ENET_MDC_ENET1_MDC			0x3
			MX8MM_IOMUXC_ENET_MDIO_ENET1_MDIO		0x3
			MX8MM_IOMUXC_ENET_TD3_ENET1_RGMII_TD3		0x1f
			MX8MM_IOMUXC_ENET_TD2_ENET1_RGMII_TD2		0x1f
			MX8MM_IOMUXC_ENET_TD1_ENET1_RGMII_TD1		0x1f
			MX8MM_IOMUXC_ENET_TD0_ENET1_RGMII_TD0		0x1f
			MX8MM_IOMUXC_ENET_RD3_ENET1_RGMII_RD3		0x91
			MX8MM_IOMUXC_ENET_RD2_ENET1_RGMII_RD2		0x91
			MX8MM_IOMUXC_ENET_RD1_ENET1_RGMII_RD1		0x91
			MX8MM_IOMUXC_ENET_RD0_ENET1_RGMII_RD0		0x91
			MX8MM_IOMUXC_ENET_TXC_ENET1_RGMII_TXC		0x1f
			MX8MM_IOMUXC_ENET_RXC_ENET1_RGMII_RXC		0x91
			MX8MM_IOMUXC_ENET_RX_CTL_ENET1_RGMII_RX_CTL	0x91
			MX8MM_IOMUXC_ENET_TX_CTL_ENET1_RGMII_TX_CTL	0x1f
			MX8MM_IOMUXC_SD1_RESET_B_GPIO2_IO10         0x19
		>;
	};

	pinctrl_gpio_led: gpioledgrp {
		fsl,pins = <
			MX8MM_IOMUXC_NAND_READY_B_GPIO3_IO16	0x19
		>;
	};

	pinctrl_ir: irgrp {
		fsl,pins = <
			MX8MM_IOMUXC_GPIO1_IO13_GPIO1_IO13              0x4f
		>;
	};

	pinctrl_gpio_wlf: gpiowlfgrp {
		fsl,pins = <
			MX8MM_IOMUXC_I2C4_SDA_GPIO5_IO21	0xd6
		>;
	};

	pinctrl_i2c1: i2c1grp {
		fsl,pins = <
			MX8MM_IOMUXC_I2C1_SCL_I2C1_SCL			0x400001c3
			MX8MM_IOMUXC_I2C1_SDA_I2C1_SDA			0x400001c3
		>;
	};

	pinctrl_i2c2: i2c2grp {
		fsl,pins = <
			MX8MM_IOMUXC_I2C2_SCL_I2C2_SCL			0x400001c3
			MX8MM_IOMUXC_I2C2_SDA_I2C2_SDA			0x400001c3
		>;
	};

	pinctrl_i2c2_synaptics_dsx_io: synaptics_dsx_iogrp {
		fsl,pins = <
			MX8MM_IOMUXC_GPIO1_IO09_GPIO1_IO9               0x19    /* Touch int */
		>;
	};

	pinctrl_i2c3: i2c3grp {
		fsl,pins = <
			MX8MM_IOMUXC_I2C3_SCL_I2C3_SCL			0x400001c3
			MX8MM_IOMUXC_I2C3_SDA_I2C3_SDA			0x400001c3
		>;
	};

	pinctrl_i2c4: i2c4grp {
		fsl,pins = <
			MX8MM_IOMUXC_I2C4_SCL_I2C4_SCL          0x400001c3
			MX8MM_IOMUXC_I2C4_SDA_I2C4_SDA          0x400001c3
		>;
	};

	pinctrl_mipi_dsi_en: mipi_dsi_en {
		fsl,pins = <
			MX8MM_IOMUXC_GPIO1_IO08_GPIO1_IO8		0x16
		>;
	};

	pinctrl_wifi_en: wifi_en {
		fsl,pins = <
			MX8MM_IOMUXC_GPIO1_IO11_GPIO1_IO11	0x159
		>;
	};

	pinctrl_usb_en: usb_en {
		fsl,pins = <
			MX8MM_IOMUXC_SAI5_RXFS_GPIO3_IO19	0x159
		>;
	};

	pinctrl_pcie0: pcie0grp {
		fsl,pins = <
			MX8MM_IOMUXC_GPIO1_IO07_GPIO1_IO7   0x41
		>;
	};

	pinctrl_pcie0_reg: pcie0reggrp {
		fsl,pins = <
			MX8MM_IOMUXC_GPIO1_IO05_GPIO1_IO5       0x41
		>;
	};

	pinctrl_pdm: pdmgrp {
		fsl,pins = <
			MX8MM_IOMUXC_SAI5_MCLK_SAI5_MCLK	0xd6
			MX8MM_IOMUXC_SAI5_RXC_PDM_CLK		0xd6
			MX8MM_IOMUXC_SAI5_RXFS_SAI5_RX_SYNC	0xd6
			MX8MM_IOMUXC_SAI5_RXD0_PDM_DATA0	0xd6
			MX8MM_IOMUXC_SAI5_RXD1_PDM_DATA1	0xd6
			MX8MM_IOMUXC_SAI5_RXD2_PDM_DATA2	0xd6
			MX8MM_IOMUXC_SAI5_RXD3_PDM_DATA3	0xd6
		>;
	};

	pinctrl_pmic: pmicirqgrp {
		fsl,pins = <
			MX8MM_IOMUXC_GPIO1_IO03_GPIO1_IO3		0x41
		>;
	};

	pinctrl_reg_usdhc2_vmmc: regusdhc2vmmcgrp {
		fsl,pins = <
			MX8MM_IOMUXC_SD2_RESET_B_GPIO2_IO19	0x41
		>;
	};

	pinctrl_sai1: sai1grp {
		fsl,pins = <
			MX8MM_IOMUXC_SAI1_MCLK_SAI1_MCLK	0xd6
			MX8MM_IOMUXC_SAI1_TXFS_SAI1_TX_SYNC	0xd6
			MX8MM_IOMUXC_SAI1_RXD7_SAI1_TX_SYNC	0xd6
			MX8MM_IOMUXC_SAI1_TXC_SAI1_TX_BCLK	0xd6
			MX8MM_IOMUXC_SAI1_TXD0_SAI1_TX_DATA0	0xd6
			MX8MM_IOMUXC_SAI1_TXD1_SAI1_TX_DATA1	0xd6
			MX8MM_IOMUXC_SAI1_TXD2_SAI1_TX_DATA2	0xd6
			MX8MM_IOMUXC_SAI1_TXD3_SAI1_TX_DATA3	0xd6
			MX8MM_IOMUXC_SAI1_TXD4_SAI1_TX_DATA4	0xd6
			MX8MM_IOMUXC_SAI1_TXD5_SAI1_TX_DATA5	0xd6
			MX8MM_IOMUXC_SAI1_TXD6_SAI1_TX_DATA6	0xd6
			MX8MM_IOMUXC_SAI1_TXD7_SAI1_TX_DATA7	0xd6
		>;
	};

	pinctrl_sai1_dsd: sai1grp_dsd {
		fsl,pins = <
			MX8MM_IOMUXC_SAI1_MCLK_SAI1_MCLK	0xd6
			MX8MM_IOMUXC_SAI1_TXFS_SAI1_TX_SYNC	0xd6
			MX8MM_IOMUXC_SAI1_RXD7_SAI1_TX_DATA4	0xd6
			MX8MM_IOMUXC_SAI1_TXC_SAI1_TX_BCLK	0xd6
			MX8MM_IOMUXC_SAI1_TXD0_SAI1_TX_DATA0	0xd6
			MX8MM_IOMUXC_SAI1_TXD1_SAI1_TX_DATA1	0xd6
			MX8MM_IOMUXC_SAI1_TXD2_SAI1_TX_DATA2	0xd6
			MX8MM_IOMUXC_SAI1_TXD3_SAI1_TX_DATA3	0xd6
			MX8MM_IOMUXC_SAI1_TXD4_SAI1_TX_DATA4	0xd6
			MX8MM_IOMUXC_SAI1_TXD5_SAI1_TX_DATA5	0xd6
			MX8MM_IOMUXC_SAI1_TXD6_SAI1_TX_DATA6	0xd6
			MX8MM_IOMUXC_SAI1_TXD7_SAI1_TX_DATA7	0xd6
		>;
	};

	pinctrl_sai2: sai2grp {
		fsl,pins = <
			MX8MM_IOMUXC_SAI2_TXC_SAI2_TX_BCLK      0xd6
			MX8MM_IOMUXC_SAI2_TXFS_SAI2_TX_SYNC     0xd6
			MX8MM_IOMUXC_SAI2_TXD0_SAI2_TX_DATA0    0xd6
			MX8MM_IOMUXC_SAI2_RXD0_SAI2_RX_DATA0    0xd6
			MX8MM_IOMUXC_SAI2_MCLK_SAI2_MCLK        0xd6
			MX8MM_IOMUXC_SAI2_RXC_GPIO4_IO22        0xd6
		>;
	};

	pinctrl_sai3: sai3grp {
		fsl,pins = <
			MX8MM_IOMUXC_SAI3_TXFS_SAI3_TX_SYNC     0xd6
			MX8MM_IOMUXC_SAI3_TXC_SAI3_TX_BCLK      0xd6
			MX8MM_IOMUXC_SAI3_MCLK_SAI3_MCLK        0xd6
			MX8MM_IOMUXC_SAI3_TXD_SAI3_TX_DATA0     0xd6
		>;
	};

	pinctrl_sai5: sai5grp {
		fsl,pins = <
			MX8MM_IOMUXC_SAI5_MCLK_SAI5_MCLK	0xd6
			MX8MM_IOMUXC_SAI5_RXC_SAI5_RX_BCLK	0xd6
			MX8MM_IOMUXC_SAI5_RXFS_SAI5_RX_SYNC	0xd6
			MX8MM_IOMUXC_SAI5_RXD0_SAI5_RX_DATA0	0xd6
			MX8MM_IOMUXC_SAI5_RXD1_SAI5_RX_DATA1    0xd6
			MX8MM_IOMUXC_SAI5_RXD2_SAI5_RX_DATA2    0xd6
			MX8MM_IOMUXC_SAI5_RXD3_SAI5_RX_DATA3    0xd6
		>;
	};

	pinctrl_spdif1: spdif1grp {
		fsl,pins = <
			MX8MM_IOMUXC_SPDIF_TX_SPDIF1_OUT	0xd6
			MX8MM_IOMUXC_SPDIF_RX_SPDIF1_IN		0xd6
		>;
	};

	pinctrl_typec1: typec1grp {
		fsl,pins = <
			MX8MM_IOMUXC_SD1_STROBE_GPIO2_IO11	0x159
		>;
	};

	pinctrl_uart1: uart1grp {
		fsl,pins = <
			MX8MM_IOMUXC_UART1_RXD_UART1_DCE_RX     0x140
			MX8MM_IOMUXC_UART1_TXD_UART1_DCE_TX     0x140
		>;
	};

	pinctrl_uart2: uart2grp {
		fsl,pins = <
			MX8MM_IOMUXC_UART2_RXD_UART2_DCE_RX	0x140
			MX8MM_IOMUXC_UART2_TXD_UART2_DCE_TX	0x140
		>;
	};

	pinctrl_uart3: uart3grp {
		fsl,pins = <
			MX8MM_IOMUXC_UART3_RXD_UART3_DCE_RX           0x140
			MX8MM_IOMUXC_UART3_TXD_UART3_DCE_TX           0x140
		>;
	};

	pinctrl_usdhc1: usdhc1grp {
		fsl,pins = <
			MX8MM_IOMUXC_SD1_CLK_USDHC1_CLK		0x190
			MX8MM_IOMUXC_SD1_CMD_USDHC1_CMD		0x1d0
			MX8MM_IOMUXC_SD1_DATA0_USDHC1_DATA0	0x1d0
			MX8MM_IOMUXC_SD1_DATA1_USDHC1_DATA1	0x1d0
			MX8MM_IOMUXC_SD1_DATA2_USDHC1_DATA2	0x1d0
			MX8MM_IOMUXC_SD1_DATA3_USDHC1_DATA3	0x1d0
		>;
	};

	pinctrl_usdhc1_100mhz: usdhc1grp100mhz {
		fsl,pins = <
			MX8MM_IOMUXC_SD1_CLK_USDHC1_CLK		0x194
			MX8MM_IOMUXC_SD1_CMD_USDHC1_CMD		0x1d4
			MX8MM_IOMUXC_SD1_DATA0_USDHC1_DATA0	0x1d4
			MX8MM_IOMUXC_SD1_DATA1_USDHC1_DATA1	0x1d4
			MX8MM_IOMUXC_SD1_DATA2_USDHC1_DATA2	0x1d4
			MX8MM_IOMUXC_SD1_DATA3_USDHC1_DATA3	0x1d4
		>;
	};

	pinctrl_usdhc1_200mhz: usdhc1grp200mhz {
		fsl,pins = <
			MX8MM_IOMUXC_SD1_CLK_USDHC1_CLK		0x196
			MX8MM_IOMUXC_SD1_CMD_USDHC1_CMD		0x1d6
			MX8MM_IOMUXC_SD1_DATA0_USDHC1_DATA0	0x1d6
			MX8MM_IOMUXC_SD1_DATA1_USDHC1_DATA1	0x1d6
			MX8MM_IOMUXC_SD1_DATA2_USDHC1_DATA2	0x1d6
			MX8MM_IOMUXC_SD1_DATA3_USDHC1_DATA3	0x1d6
		>;
	};

	pinctrl_usdhc2_gpio: usdhc2grpgpiogrp {
		fsl,pins = <
			MX8MM_IOMUXC_SD2_CD_B_GPIO2_IO12    0x1c4
		>;
	};

	pinctrl_usdhc2: usdhc2grp {
		fsl,pins = <
			MX8MM_IOMUXC_SD2_CLK_USDHC2_CLK		0x190
			MX8MM_IOMUXC_SD2_CMD_USDHC2_CMD		0x1d0
			MX8MM_IOMUXC_SD2_DATA0_USDHC2_DATA0	0x1d0
			MX8MM_IOMUXC_SD2_DATA1_USDHC2_DATA1	0x1d0
			MX8MM_IOMUXC_SD2_DATA2_USDHC2_DATA2	0x1d0
			MX8MM_IOMUXC_SD2_DATA3_USDHC2_DATA3	0x1d0
			MX8MM_IOMUXC_GPIO1_IO04_USDHC2_VSELECT	0x1d0
		>;
	};

	pinctrl_usdhc2_100mhz: usdhc2-100mhzgrp {
		fsl,pins = <
			MX8MM_IOMUXC_SD2_CLK_USDHC2_CLK		0x194
			MX8MM_IOMUXC_SD2_CMD_USDHC2_CMD		0x1d4
			MX8MM_IOMUXC_SD2_DATA0_USDHC2_DATA0	0x1d4
			MX8MM_IOMUXC_SD2_DATA1_USDHC2_DATA1	0x1d4
			MX8MM_IOMUXC_SD2_DATA2_USDHC2_DATA2	0x1d4
			MX8MM_IOMUXC_SD2_DATA3_USDHC2_DATA3	0x1d4
			MX8MM_IOMUXC_GPIO1_IO04_USDHC2_VSELECT	0x1d0
		>;
	};

	pinctrl_usdhc2_200mhz: usdhc2-200mhzgrp {
		fsl,pins = <
			MX8MM_IOMUXC_SD2_CLK_USDHC2_CLK		0x196
			MX8MM_IOMUXC_SD2_CMD_USDHC2_CMD		0x1d6
			MX8MM_IOMUXC_SD2_DATA0_USDHC2_DATA0	0x1d6
			MX8MM_IOMUXC_SD2_DATA1_USDHC2_DATA1	0x1d6
			MX8MM_IOMUXC_SD2_DATA2_USDHC2_DATA2	0x1d6
			MX8MM_IOMUXC_SD2_DATA3_USDHC2_DATA3	0x1d6
			MX8MM_IOMUXC_GPIO1_IO04_USDHC2_VSELECT	0x1d0
		>;
	};

	pinctrl_wdog: wdoggrp {
		fsl,pins = <
			MX8MM_IOMUXC_GPIO1_IO02_WDOG1_WDOG_B	0x166
		>;
	};

	pinctrl_backlight: backlightgrp {
		fsl,pins = <
			MX8MM_IOMUXC_GPIO1_IO01_PWM1_OUT	0x1d0
		>;
	};

	pinctrl_ft5x06_int: ft5x06_int {
		fsl,pins = <
			MX8MM_IOMUXC_GPIO1_IO10_GPIO1_IO10      0x159
			MX8MM_IOMUXC_GPIO1_IO09_GPIO1_IO9       0x159
		>;
	};

	pinctrl_wm8960_power_en: wm8960_pw_en {
		fsl,pins = <
			MX8MM_IOMUXC_SAI2_RXFS_GPIO4_IO21       0x159
		>;
	};
};
